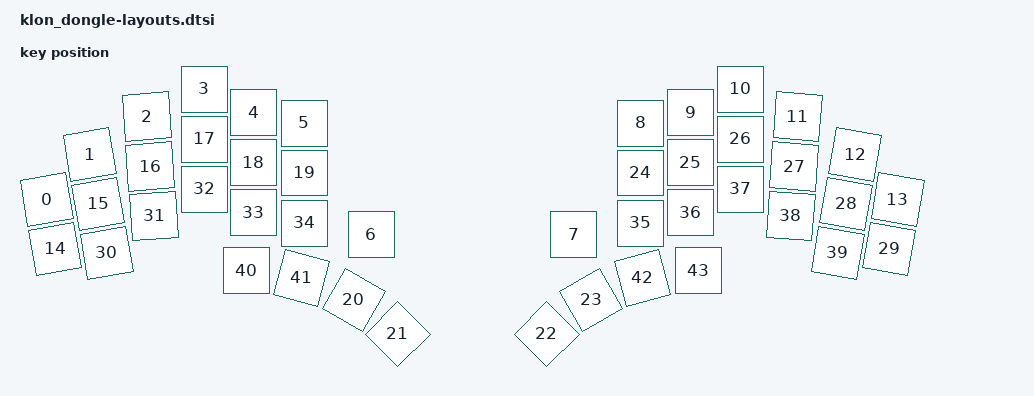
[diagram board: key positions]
#include <physical_layouts.dtsi>

/ {
    physical_layout_klon_dongle: physical_layout_klon_dongle {
        compatible = "zmk,physical-layout";
        display-name = "klon-dongle";
        keys  //                     w   h    x    y     rot    rx    ry
            = <&key_physical_attrs 100 100    8  221 (-1000)    58   271>
            , <&key_physical_attrs 100 100   94  131 (-1000)   144   181>
            , <&key_physical_attrs 100 100  209   55  (-400)   259   105>
            , <&key_physical_attrs 100 100  323    0       0   323     0>
            , <&key_physical_attrs 100 100  422   47       0   422    47>
            , <&key_physical_attrs 100 100  523   68       0   523    68>
            , <&key_physical_attrs 100 100  657  291       0   657   291>
            , <&key_physical_attrs 100 100 1062  291       0  1062   291>
            , <&key_physical_attrs 100 100 1196   68       0  1196    68>
            , <&key_physical_attrs 100 100 1296   47       0  1296    47>
            , <&key_physical_attrs 100 100 1396    0       0  1396     0>
            , <&key_physical_attrs 100 100 1510   55     400  1560   105>
            , <&key_physical_attrs 100 100 1625  131    1000  1675   181>
            , <&key_physical_attrs 100 100 1710  221    1000  1760   271>
            , <&key_physical_attrs 100 100   25  320 (-1000)    75   370>
            , <&key_physical_attrs 100 100  111  230 (-1000)   161   280>
            , <&key_physical_attrs 100 100  215  155  (-400)   266   205>
            , <&key_physical_attrs 100 100  323  100       0   323   100>
            , <&key_physical_attrs 100 100  422  147       0   422   147>
            , <&key_physical_attrs 100 100  523  168       0   523   168>
            , <&key_physical_attrs 100 100  622  422    3000   672   472>
            , <&key_physical_attrs 100 100  710  490 (-4500)   760   540>
            , <&key_physical_attrs 100 100 1008  490    4500  1058   540>
            , <&key_physical_attrs 100 100 1097  422 (-3000)  1147   472>
            , <&key_physical_attrs 100 100 1196  168       0  1196   168>
            , <&key_physical_attrs 100 100 1296  147       0  1296   147>
            , <&key_physical_attrs 100 100 1396  100       0  1396   100>
            , <&key_physical_attrs 100 100 1503  155     400  1553   205>
            , <&key_physical_attrs 100 100 1607  230    1000  1657   280>
            , <&key_physical_attrs 100 100 1693  320    1000  1743   370>
            , <&key_physical_attrs 100 100  128  328 (-1000)   178   378>
            , <&key_physical_attrs 100 100  223  254  (-400)   273   304>
            , <&key_physical_attrs 100 100  323  200       0   323   200>
            , <&key_physical_attrs 100 100  422  247       0   422   247>
            , <&key_physical_attrs 100 100  523  268       0   523   268>
            , <&key_physical_attrs 100 100 1196  268       0  1196   268>
            , <&key_physical_attrs 100 100 1296  247       0  1296   247>
            , <&key_physical_attrs 100 100 1396  200       0  1396   200>
            , <&key_physical_attrs 100 100 1496  254     400  1546   304>
            , <&key_physical_attrs 100 100 1590  328    1000  1640   378>
            , <&key_physical_attrs 100 100  407  363       0   407   363>
            , <&key_physical_attrs 100 100  518  378    1500   568   428>
            , <&key_physical_attrs 100 100 1200  378 (-1500)  1250   428>
            , <&key_physical_attrs 100 100 1311  363       0  1311   363>
            ;
    };
};
